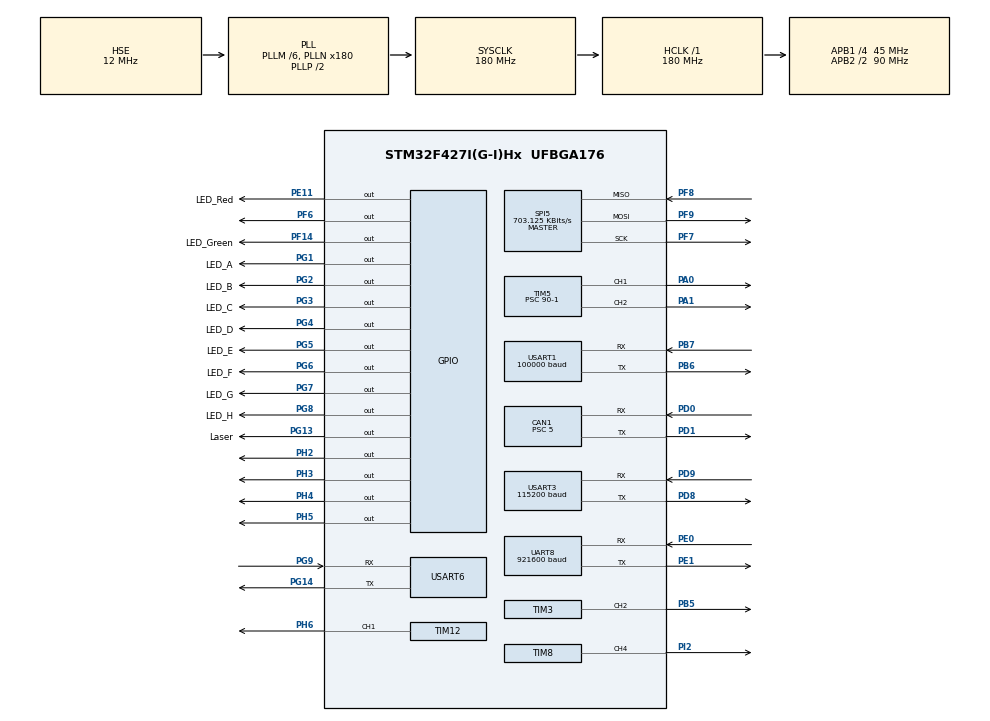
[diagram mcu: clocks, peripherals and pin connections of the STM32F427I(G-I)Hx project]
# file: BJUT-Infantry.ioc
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CAN1.BS1=CAN_BS1_5TQ
CAN1.BS2=CAN_BS2_3TQ
CAN1.CalculateBaudRate=1000000
CAN1.CalculateTimeBit=999.99
CAN1.CalculateTimeQuantum=111.11111111111111
CAN1.NART=ENABLE
CAN1.Prescaler=5
CAN1.SJW=CAN_SJW_1TQ
Dma.Request0=USART3_RX
Dma.Request1=USART6_RX
Dma.Request2=USART1_RX
Dma.Request3=UART8_RX
Dma.Request4=USART3_TX
Dma.UART8_RX.3.Direction=DMA_PERIPH_TO_MEMORY
Dma.UART8_RX.3.FIFOMode=DMA_FIFOMODE_DISABLE
Dma.UART8_RX.3.Instance=DMA1_Stream6
Dma.UART8_RX.3.MemDataAlignment=DMA_MDATAALIGN_BYTE
Dma.UART8_RX.3.MemInc=DMA_MINC_ENABLE
Dma.UART8_RX.3.Mode=DMA_CIRCULAR
Dma.UART8_RX.3.PeriphDataAlignment=DMA_PDATAALIGN_BYTE
Dma.UART8_RX.3.PeriphInc=DMA_PINC_DISABLE
Dma.UART8_RX.3.Priority=DMA_PRIORITY_LOW
Dma.USART1_RX.2.Direction=DMA_PERIPH_TO_MEMORY
Dma.USART1_RX.2.FIFOMode=DMA_FIFOMODE_DISABLE
Dma.USART1_RX.2.Instance=DMA2_Stream2
Dma.USART1_RX.2.MemDataAlignment=DMA_MDATAALIGN_BYTE
Dma.USART1_RX.2.MemInc=DMA_MINC_ENABLE
Dma.USART1_RX.2.Mode=DMA_CIRCULAR
Dma.USART1_RX.2.PeriphDataAlignment=DMA_PDATAALIGN_BYTE
Dma.USART1_RX.2.PeriphInc=DMA_PINC_DISABLE
Dma.USART1_RX.2.Priority=DMA_PRIORITY_HIGH
Dma.USART3_RX.0.Direction=DMA_PERIPH_TO_MEMORY
Dma.USART3_RX.0.FIFOMode=DMA_FIFOMODE_DISABLE
Dma.USART3_RX.0.Instance=DMA1_Stream1
Dma.USART3_RX.0.MemDataAlignment=DMA_MDATAALIGN_BYTE
Dma.USART3_RX.0.MemInc=DMA_MINC_ENABLE
Dma.USART3_RX.0.Mode=DMA_CIRCULAR
Dma.USART3_RX.0.PeriphDataAlignment=DMA_PDATAALIGN_BYTE
Dma.USART3_RX.0.PeriphInc=DMA_PINC_DISABLE
Dma.USART3_RX.0.Priority=DMA_PRIORITY_MEDIUM
Dma.USART3_TX.4.Direction=DMA_MEMORY_TO_PERIPH
Dma.USART3_TX.4.FIFOMode=DMA_FIFOMODE_DISABLE
Dma.USART3_TX.4.Instance=DMA1_Stream3
Dma.USART3_TX.4.MemDataAlignment=DMA_MDATAALIGN_BYTE
Dma.USART3_TX.4.MemInc=DMA_MINC_ENABLE
Dma.USART3_TX.4.Mode=DMA_NORMAL
Dma.USART3_TX.4.PeriphDataAlignment=DMA_PDATAALIGN_BYTE
Dma.USART3_TX.4.PeriphInc=DMA_PINC_DISABLE
Dma.USART3_TX.4.Priority=DMA_PRIORITY_MEDIUM
Dma.USART6_RX.1.Direction=DMA_PERIPH_TO_MEMORY
Dma.USART6_RX.1.FIFOMode=DMA_FIFOMODE_DISABLE
Dma.USART6_RX.1.Instance=DMA2_Stream1
Dma.USART6_RX.1.MemDataAlignment=DMA_MDATAALIGN_BYTE
Dma.USART6_RX.1.MemInc=DMA_MINC_ENABLE
Dma.USART6_RX.1.Mode=DMA_NORMAL
Dma.USART6_RX.1.PeriphDataAlignment=DMA_PDATAALIGN_BYTE
Dma.USART6_RX.1.PeriphInc=DMA_PINC_DISABLE
Dma.USART6_RX.1.Priority=DMA_PRIORITY_MEDIUM
FREERTOS.INCLUDE_vTaskDelayUntil=1
FREERTOS.Tasks01=defaultTask,0,128,StartDefaultTask,Default,NULL,Dynamic,NULL,NULL;Start_Task,3,128,Func_Start,Default,NULL,Dynamic,NULL,NULL
Mcu.Family=STM32F4
Mcu.Name=STM32F427I(G-I)Hx
Mcu.Package=UFBGA176
NVIC.CAN1_RX0_IRQn=true\:10\:0\:true\:false\:true\:true\:true\:true
NVIC.DMA1_Stream1_IRQn=true\:5\:0\:false\:false\:true\:true\:false\:true
NVIC.DMA1_Stream3_IRQn=true\:5\:0\:false\:false\:true\:true\:false\:true
NVIC.DMA1_Stream6_IRQn=true\:5\:0\:false\:false\:true\:true\:false\:true
NVIC.DMA2_Stream1_IRQn=true\:10\:0\:true\:false\:true\:true\:false\:true
NVIC.DMA2_Stream2_IRQn=true\:5\:0\:false\:false\:true\:true\:false\:true
NVIC.PriorityGroup=NVIC_PRIORITYGROUP_4
NVIC.TIM1_UP_TIM10_IRQn=true\:0\:0\:false\:false\:true\:false\:false\:true
NVIC.TIM3_IRQn=true\:5\:0\:false\:false\:true\:true\:true\:true
NVIC.TimeBase=TIM1_UP_TIM10_IRQn
NVIC.TimeBaseIP=TIM1
NVIC.UART8_IRQn=true\:5\:0\:true\:false\:true\:true\:true\:true
NVIC.USART3_IRQn=true\:5\:0\:false\:false\:true\:true\:true\:true
NVIC.USART6_IRQn=true\:5\:0\:false\:false\:true\:true\:true\:true
PA0/WKUP.Signal=S_TIM5_CH1
PA1.Signal=S_TIM5_CH2
PA13.Mode=Serial_Wire
PA13.Signal=SYS_JTMS-SWDIO
PA14.Mode=Serial_Wire
PA14.Signal=SYS_JTCK-SWCLK
PB5.Signal=S_TIM3_CH2
PB6.Mode=Asynchronous
PB6.Signal=USART1_TX
PB7.Mode=Asynchronous
PB7.Signal=USART1_RX
PD0.Mode=CAN_Activate
PD0.Signal=CAN1_RX
PD1.Mode=CAN_Activate
PD1.Signal=CAN1_TX
PD8.Mode=Asynchronous
PD8.Signal=USART3_TX
PD9.GPIO_PuPd=GPIO_PULLDOWN
PD9.Mode=Asynchronous
PD9.Signal=USART3_RX
PE0.Mode=Asynchronous
PE0.Signal=UART8_RX
PE1.Mode=Asynchronous
PE1.Signal=UART8_TX
PE11.GPIO_Label=LED_Red
PE11.PinState=GPIO_PIN_RESET
PE11.Signal=GPIO_Output
PF14.GPIO_Label=LED_Green
PF14.PinState=GPIO_PIN_SET
PF14.Signal=GPIO_Output
PF6.Signal=GPIO_Output
PF7.Mode=Full_Duplex_Master
PF7.Signal=SPI5_SCK
PF8.Mode=Full_Duplex_Master
PF8.Signal=SPI5_MISO
PF9.Mode=Full_Duplex_Master
PF9.Signal=SPI5_MOSI
PG1.GPIO_Label=LED_A
PG1.PinState=GPIO_PIN_SET
PG1.Signal=GPIO_Output
PG13.GPIO_Label=Laser
PG13.PinState=GPIO_PIN_SET
PG13.Signal=GPIO_Output
PG14.Mode=Asynchronous
PG14.Signal=USART6_TX
PG2.GPIO_Label=LED_B
PG2.PinState=GPIO_PIN_SET
PG2.Signal=GPIO_Output
PG3.GPIO_Label=LED_C
PG3.PinState=GPIO_PIN_SET
PG3.Signal=GPIO_Output
PG4.GPIO_Label=LED_D
PG4.PinState=GPIO_PIN_SET
PG4.Signal=GPIO_Output
PG5.GPIO_Label=LED_E
PG5.PinState=GPIO_PIN_SET
PG5.Signal=GPIO_Output
PG6.GPIO_Label=LED_F
PG6.PinState=GPIO_PIN_SET
PG6.Signal=GPIO_Output
PG7.GPIO_Label=LED_G
PG7.PinState=GPIO_PIN_SET
PG7.Signal=GPIO_Output
PG8.GPIO_Label=LED_H
PG8.PinState=GPIO_PIN_SET
PG8.Signal=GPIO_Output
PG9.GPIO_PuPd=GPIO_PULLUP
PG9.Mode=Asynchronous
PG9.Signal=USART6_RX
PH0/OSC_IN.Mode=HSE-External-Oscillator
PH0/OSC_IN.Signal=RCC_OSC_IN
PH1/OSC_OUT.Mode=HSE-External-Oscillator
PH1/OSC_OUT.Signal=RCC_OSC_OUT
PH2.PinState=GPIO_PIN_SET
PH2.Signal=GPIO_Output
PH3.PinState=GPIO_PIN_SET
PH3.Signal=GPIO_Output
PH4.PinState=GPIO_PIN_SET
PH4.Signal=GPIO_Output
PH5.PinState=GPIO_PIN_SET
PH5.Signal=GPIO_Output
PH6.Signal=S_TIM12_CH1
PI2.Signal=S_TIM8_CH4
ProjectManager.HeapSize=0x200
ProjectManager.StackSize=0x400
ProjectManager.TargetToolchain=MDK-ARM V5
RCC.48MHZClocksFreq_Value=90000000
RCC.AHBFreq_Value=180000000
RCC.APB1CLKDivider=RCC_HCLK_DIV4
RCC.APB1Freq_Value=45000000
RCC.APB1TimFreq_Value=90000000
RCC.APB2CLKDivider=RCC_HCLK_DIV2
RCC.APB2Freq_Value=90000000
RCC.APB2TimFreq_Value=180000000
RCC.CortexFreq_Value=180000000
RCC.HCLKFreq_Value=180000000
RCC.HSE_VALUE=12000000
RCC.HSI_VALUE=16000000
RCC.LSE_VALUE=32768
RCC.PLLM=6
RCC.PLLN=180
RCC.PLLSourceVirtual=RCC_PLLSOURCE_HSE
RCC.SYSCLKFreq_VALUE=180000000
RCC.SYSCLKSource=RCC_SYSCLKSOURCE_PLLCLK
RCC.VCOOutputFreq_Value=360000000
SH.S_TIM12_CH1.0=TIM12_CH1,PWM Generation1 CH1
SH.S_TIM3_CH2.0=TIM3_CH2,PWM Generation2 CH2
SH.S_TIM5_CH1.0=TIM5_CH1,PWM Generation1 CH1
SH.S_TIM5_CH2.0=TIM5_CH2,PWM Generation2 CH2
SH.S_TIM8_CH4.0=TIM8_CH4,PWM Generation4 CH4
SPI5.BaudRatePrescaler=SPI_BAUDRATEPRESCALER_128
SPI5.CalculateBaudRate=703.125 KBits/s
SPI5.Direction=SPI_DIRECTION_2LINES
SPI5.Mode=SPI_MODE_MASTER
SPI5.VirtualType=VM_MASTER
TIM12.Channel-PWM\ Generation1\ CH1=TIM_CHANNEL_1
TIM12.OCPolarity_1=TIM_OCPOLARITY_LOW
TIM12.Period=370-1
TIM12.Prescaler=90-1
TIM3.Channel-PWM\ Generation2\ CH2=TIM_CHANNEL_2
TIM3.Period=1000-1
TIM3.Prescaler=90-1
TIM3.Pulse-PWM\ Generation2\ CH2=0
TIM5.Channel-PWM\ Generation1\ CH1=TIM_CHANNEL_1
TIM5.Channel-PWM\ Generation2\ CH2=TIM_CHANNEL_2
TIM5.OCPolarity_1=TIM_OCPOLARITY_HIGH
TIM5.OCPolarity_2=TIM_OCPOLARITY_HIGH
TIM5.Period=2000-1
TIM5.Prescaler=90-1
TIM5.Pulse-PWM\ Generation1\ CH1=1000
TIM5.Pulse-PWM\ Generation2\ CH2=1000
TIM8.Channel-PWM\ Generation4\ CH4=TIM_CHANNEL_4
TIM8.Period=500-1
TIM8.Prescaler=7200-1
UART8.BaudRate=921600
UART8.VirtualMode=Asynchronous
USART1.BaudRate=100000
USART1.Mode=MODE_RX
USART1.Parity=PARITY_EVEN
USART1.VirtualMode=VM_ASYNC
USART3.BaudRate=115200
USART3.VirtualMode=VM_ASYNC
USART6.VirtualMode=VM_ASYNC
VP_FREERTOS_VS_CMSIS_V1.Mode=CMSIS_V1
VP_SYS_VS_tim1.Mode=TIM1
VP_TIM3_VS_ClockSourceINT.Mode=Internal
board=custom

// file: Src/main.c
/* USER CODE BEGIN Header */
/**
  ******************************************************************************
  * @file           : main.c
  * @brief          : Main program body
  ******************************************************************************
  * @attention
  *
  * <h2><center>&copy; Copyright (c) 2020 STMicroelectronics.
  * All rights reserved.</center></h2>
  *
  * This software component is licensed by ST under Ultimate Liberty license
  * SLA0044, the "License"; You may not use this file except in compliance with
  * the License. You may obtain a copy of the License at:
  *                             www.st.com/SLA0044
  *
  ******************************************************************************
  */
/* USER CODE END Header */
#include "main.h"
#include "cmsis_os.h"
#include "can.h"
#include "dma.h"
#include "spi.h"
#include "tim.h"
#include "usart.h"
#include "gpio.h"

/* USER CODE BEGIN Includes */
#include "Header.h"
/* USER CODE END Includes */

/* USER CODE BEGIN PV */
/* Private variables ---------------------------------------------------------*/

/* USER CODE END PV */

void SystemClock_Config(void);
void MX_FREERTOS_Init(void);
/* USER CODE BEGIN PFP */
/* Private function prototypes -----------------------------------------------*/

/* USER CODE END PFP */

int main(void)
{

  /* MCU Configuration--------------------------------------------------------*/

  /* Reset of all peripherals, Initializes the Flash interface and the Systick. */
  HAL_Init();

  /* Configure the system clock */
  SystemClock_Config();

  /* Initialize all configured peripherals */
  MX_GPIO_Init();
  MX_DMA_Init();
  MX_CAN1_Init();
  MX_USART6_UART_Init();
  MX_USART1_UART_Init();
  MX_USART3_UART_Init();
  MX_TIM12_Init();
  MX_TIM5_Init();
  MX_SPI5_Init();
  MX_UART8_Init();
  MX_TIM3_Init();
  MX_TIM8_Init();
  /* USER CODE BEGIN 2 */
	UART_Start();
	HAL_TIM_PWM_Start(&htim12,TIM_CHANNEL_1);
	HAL_TIM_PWM_Start(&htim5,TIM_CHANNEL_1);
	HAL_TIM_PWM_Start(&htim5,TIM_CHANNEL_2);
	HAL_TIM_PWM_Start(&htim5,TIM_CHANNEL_3);
	HAL_TIM_PWM_Start(&htim5,TIM_CHANNEL_4);
	HAL_TIM_PWM_Start(&htim8,TIM_CHANNEL_4);
	HAL_TIM_PWM_Start(&htim3,TIM_CHANNEL_2);
	Friction_OFF();
	HAL_CAN_Start(&hcan1);
	CAN1_Filter_Init(&hcan1);
	HAL_Delay(50);
	if(Remote_Detect())
		HAL_NVIC_SystemReset();
	HAL_Delay(50);
//	if(Imuex_Detect())
//		HAL_NVIC_SystemReset();
	HAL_Delay(100);
	if(InfantryJudge.RobotID == 0)
		HAL_NVIC_SystemReset();
  /* USER CODE END 2 */

  /* Call init function for freertos objects (in freertos.c) */
  MX_FREERTOS_Init();
  /* Start scheduler */
  osKernelStart();

  /* We should never get here as control is now taken by the scheduler */
  /* Infinite loop */
  while (1)
  {

  }
}

void SystemClock_Config(void)
{
  RCC_OscInitTypeDef RCC_OscInitStruct = {0};
  RCC_ClkInitTypeDef RCC_ClkInitStruct = {0};

  /** Configure the main internal regulator output voltage
  */
  __HAL_RCC_PWR_CLK_ENABLE();
  __HAL_PWR_VOLTAGESCALING_CONFIG(PWR_REGULATOR_VOLTAGE_SCALE1);
  /** Initializes the RCC Oscillators according to the specified parameters
  * in the RCC_OscInitTypeDef structure.
  */
  RCC_OscInitStruct.OscillatorType = RCC_OSCILLATORTYPE_HSE;
  RCC_OscInitStruct.HSEState = RCC_HSE_ON;
  RCC_OscInitStruct.PLL.PLLState = RCC_PLL_ON;
  RCC_OscInitStruct.PLL.PLLSource = RCC_PLLSOURCE_HSE;
  RCC_OscInitStruct.PLL.PLLM = 6;
  RCC_OscInitStruct.PLL.PLLN = 180;
  RCC_OscInitStruct.PLL.PLLP = RCC_PLLP_DIV2;
  RCC_OscInitStruct.PLL.PLLQ = 4;
  if (HAL_RCC_OscConfig(&RCC_OscInitStruct) != HAL_OK)
  {
    Error_Handler();
  }
  /** Activate the Over-Drive mode
  */
  if (HAL_PWREx_EnableOverDrive() != HAL_OK)
  {
    Error_Handler();
  }
  /** Initializes the CPU, AHB and APB buses clocks
  */
  RCC_ClkInitStruct.ClockType = RCC_CLOCKTYPE_HCLK|RCC_CLOCKTYPE_SYSCLK
                              |RCC_CLOCKTYPE_PCLK1|RCC_CLOCKTYPE_PCLK2;
  RCC_ClkInitStruct.SYSCLKSource = RCC_SYSCLKSOURCE_PLLCLK;
  RCC_ClkInitStruct.AHBCLKDivider = RCC_SYSCLK_DIV1;
  RCC_ClkInitStruct.APB1CLKDivider = RCC_HCLK_DIV4;
  RCC_ClkInitStruct.APB2CLKDivider = RCC_HCLK_DIV2;

  if (HAL_RCC_ClockConfig(&RCC_ClkInitStruct, FLASH_LATENCY_5) != HAL_OK)
  {
    Error_Handler();
  }
}

void HAL_TIM_PeriodElapsedCallback(TIM_HandleTypeDef *htim)
{
  if (htim->Instance == TIM1) {
    HAL_IncTick();
  }
}

void Error_Handler(void)
{
  while(1)
  {
  }
}

/************************ (C) COPYRIGHT STMicroelectronics *****END OF FILE****/

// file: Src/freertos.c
/* USER CODE BEGIN Header */
/**
  ******************************************************************************
  * File Name          : freertos.c
  * Description        : Code for freertos applications
  ******************************************************************************
  * This notice applies to any and all portions of this file
  * that are not between comment pairs USER CODE BEGIN and
  * USER CODE END. Other portions of this file, whether
  * inserted by the user or by software development tools
  * are owned by their respective copyright owners.
  *
  * Copyright (c) 2019 STMicroelectronics International N.V.
  * All rights reserved.
  *
  * Redistribution and use in source and binary forms, with or without
  * modification, are permitted, provided that the following conditions are met:
  *
  * 1. Redistribution of source code must retain the above copyright notice,
  *    this list of conditions and the following disclaimer.
  * 2. Redistributions in binary form must reproduce the above copyright notice,
  *    this list of conditions and the following disclaimer in the documentation
  *    and/or other materials provided with the distribution.
  * 3. Neither the name of STMicroelectronics nor the names of other
  *    contributors to this software may be used to endorse or promote products
  *    derived from this software without specific written permission.
  * 4. This software, including modifications and/or derivative works of this
  *    software, must execute solely and exclusively on microcontroller or
  *    microprocessor devices manufactured by or for STMicroelectronics.
  * 5. Redistribution and use of this software other than as permitted under
  *    this license is void and will automatically terminate your rights under
  *    this license.
  *
  * THIS SOFTWARE IS PROVIDED BY STMICROELECTRONICS AND CONTRIBUTORS "AS IS"
  * AND ANY EXPRESS, IMPLIED OR STATUTORY WARRANTIES, INCLUDING, BUT NOT
  * LIMITED TO, THE IMPLIED WARRANTIES OF MERCHANTABILITY, FITNESS FOR A
  * PARTICULAR PURPOSE AND NON-INFRINGEMENT OF THIRD PARTY INTELLECTUAL PROPERTY
  * RIGHTS ARE DISCLAIMED TO THE FULLEST EXTENT PERMITTED BY LAW. IN NO EVENT
  * SHALL STMICROELECTRONICS OR CONTRIBUTORS BE LIABLE FOR ANY DIRECT, INDIRECT,
  * INCIDENTAL, SPECIAL, EXEMPLARY, OR CONSEQUENTIAL DAMAGES (INCLUDING, BUT NOT
  * LIMITED TO, PROCUREMENT OF SUBSTITUTE GOODS OR SERVICES; LOSS OF USE, DATA,
  * OR PROFITS; OR BUSINESS INTERRUPTION) HOWEVER CAUSED AND ON ANY THEORY OF
  * LIABILITY, WHETHER IN CONTRACT, STRICT LIABILITY, OR TORT (INCLUDING
  * NEGLIGENCE OR OTHERWISE) ARISING IN ANY WAY OUT OF THE USE OF THIS SOFTWARE,
  * EVEN IF ADVISED OF THE POSSIBILITY OF SUCH DAMAGE.
  *
  ******************************************************************************
  */
/* USER CODE END Header */

#include "FreeRTOS.h"
#include "task.h"
#include "main.h"
#include "cmsis_os.h"

/* USER CODE BEGIN Includes */
#include "Header.h"
/* USER CODE END Includes */

osThreadId defaultTaskHandle;
osThreadId Start_TaskHandle;

void StartDefaultTask(void const * argument);
void Func_Start(void const * argument);

void MX_FREERTOS_Init(void); /* (MISRA C 2004 rule 8.1) */

/* GetIdleTaskMemory prototype (linked to static allocation support) */
void vApplicationGetIdleTaskMemory( StaticTask_t **ppxIdleTaskTCBBuffer, StackType_t **ppxIdleTaskStackBuffer, uint32_t *pulIdleTaskStackSize );

/* USER CODE BEGIN GET_IDLE_TASK_MEMORY */
static StaticTask_t xIdleTaskTCBBuffer;
static StackType_t xIdleStack[configMINIMAL_STACK_SIZE];

void vApplicationGetIdleTaskMemory( StaticTask_t **ppxIdleTaskTCBBuffer, StackType_t **ppxIdleTaskStackBuffer, uint32_t *pulIdleTaskStackSize )
{
  *ppxIdleTaskTCBBuffer = &xIdleTaskTCBBuffer;
  *ppxIdleTaskStackBuffer = &xIdleStack[0];
  *pulIdleTaskStackSize = configMINIMAL_STACK_SIZE;
  /* place for user code */
}
/* USER CODE END GET_IDLE_TASK_MEMORY */

void MX_FREERTOS_Init(void) {

  /* Create the thread(s) */
  /* definition and creation of defaultTask */
  osThreadDef(defaultTask, StartDefaultTask, osPriorityNormal, 0, 128);
  defaultTaskHandle = osThreadCreate(osThread(defaultTask), NULL);

  /* definition and creation of Start_Task */
  osThreadDef(Start_Task, Func_Start, osPriorityRealtime, 0, 128);
  Start_TaskHandle = osThreadCreate(osThread(Start_Task), NULL);

}

void StartDefaultTask(void const * argument)
{
  for(;;)
  {
    osDelay(1);
  }
}

void Func_Start(void const * argument)
{
  /* USER CODE BEGIN Func_Start */
  /* Infinite loop */
  for(;;)
  {
    Start_Task();
  }
  /* USER CODE END Func_Start */
}

/************************ (C) COPYRIGHT STMicroelectronics *****END OF FILE****/
